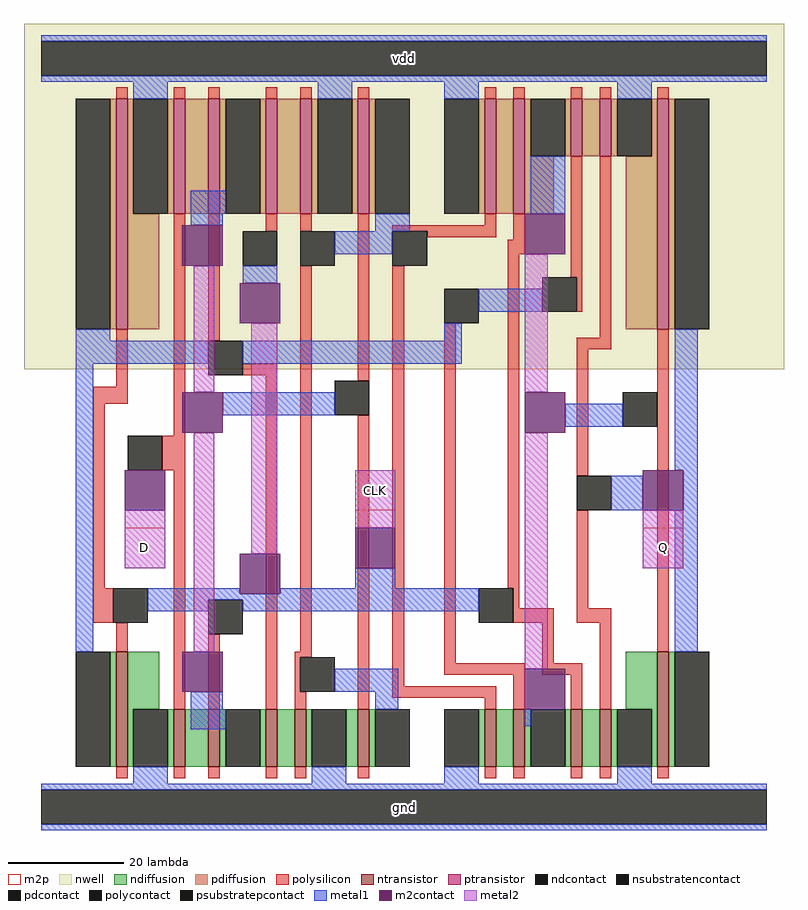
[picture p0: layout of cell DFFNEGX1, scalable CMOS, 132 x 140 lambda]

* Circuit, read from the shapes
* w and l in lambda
.subckt DFFNEGX1 D CLK Q vdd gnd
M1 gnd CLK n1 gnd nfet w=20 l=2
M2 n2 D gnd gnd nfet w=10 l=2
M3 n3 CLK n2 gnd nfet w=10 l=2
M4 n4 n1 n3 gnd nfet w=10 l=2
M5 gnd n5 n4 gnd nfet w=10 l=2
M6 n5 n3 gnd gnd nfet w=10 l=2
M7 n6 n5 gnd gnd nfet w=10 l=2
M8 n7 n1 n6 gnd nfet w=10 l=2
M9 n8 CLK n7 gnd nfet w=10 l=2
M10 gnd Q n8 gnd nfet w=10 l=2
M11 Q n7 gnd gnd nfet w=20 l=2
M12 vdd CLK n1 vdd pfet w=40 l=2
M13 n9 D vdd vdd pfet w=20 l=2
M14 n3 n1 n9 vdd pfet w=20 l=2
M15 n10 CLK n3 vdd pfet w=20 l=2
M16 vdd n5 n10 vdd pfet w=20 l=2
M17 n5 n3 vdd vdd pfet w=20 l=2
M18 n11 n5 vdd vdd pfet w=20 l=2
M19 n7 CLK n11 vdd pfet w=20 l=2
M20 n12 n1 n7 vdd pfet w=10 l=2
M21 vdd Q n12 vdd pfet w=10 l=2
M22 Q n7 vdd vdd pfet w=40 l=2
.ends

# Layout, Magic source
magic
tech scmos
magscale 1 2
<< nwell >>
rect -12 152 252 272
<< ntransistor >>
rect 20 14 24 54
rect 40 14 44 34
rect 52 14 56 34
rect 72 14 76 34
rect 82 14 86 34
rect 104 14 108 34
rect 148 14 152 34
rect 158 14 162 34
rect 178 14 182 34
rect 188 14 192 34
rect 208 14 212 54
<< ptransistor >>
rect 20 166 24 246
rect 40 206 44 246
rect 52 206 56 246
rect 72 206 76 246
rect 84 206 88 246
rect 104 206 108 246
rect 148 206 152 246
rect 158 206 162 246
rect 178 226 182 246
rect 188 226 192 246
rect 208 166 212 246
<< ndiffusion >>
rect 18 14 20 54
rect 24 34 35 54
rect 197 34 208 54
rect 24 14 26 34
rect 38 14 40 34
rect 44 14 52 34
rect 56 14 58 34
rect 70 14 72 34
rect 76 14 82 34
rect 86 14 88 34
rect 100 14 104 34
rect 108 14 110 34
rect 146 14 148 34
rect 152 14 158 34
rect 162 14 164 34
rect 176 14 178 34
rect 182 14 188 34
rect 192 14 194 34
rect 206 14 208 34
rect 212 14 214 54
<< pdiffusion >>
rect 18 166 20 246
rect 24 206 26 246
rect 38 206 40 246
rect 44 206 52 246
rect 56 206 58 246
rect 70 206 72 246
rect 76 206 84 246
rect 88 206 90 246
rect 102 206 104 246
rect 108 206 110 246
rect 146 206 148 246
rect 152 206 158 246
rect 162 226 164 246
rect 176 226 178 246
rect 182 226 188 246
rect 192 226 194 246
rect 206 226 208 246
rect 162 206 172 226
rect 24 166 35 206
rect 197 166 208 226
rect 212 166 214 246
<< ndcontact >>
rect 6 14 18 54
rect 26 14 38 34
rect 58 14 70 34
rect 88 14 100 34
rect 110 14 122 34
rect 134 14 146 34
rect 164 14 176 34
rect 194 14 206 34
rect 214 14 226 54
<< pdcontact >>
rect 6 166 18 246
rect 26 206 38 246
rect 58 206 70 246
rect 90 206 102 246
rect 110 206 122 246
rect 134 206 146 246
rect 164 226 176 246
rect 194 226 206 246
rect 214 166 226 246
<< psubstratepcontact >>
rect -6 -6 246 6
<< nsubstratencontact >>
rect -6 254 246 266
<< polysilicon >>
rect 20 246 24 250
rect 40 246 44 250
rect 52 246 56 250
rect 72 246 76 250
rect 84 246 88 250
rect 104 246 108 250
rect 148 246 152 250
rect 158 246 162 250
rect 178 246 182 250
rect 188 246 192 250
rect 208 246 212 250
rect 20 146 24 166
rect 12 140 24 146
rect 12 76 16 140
rect 40 129 44 206
rect 52 162 56 206
rect 72 200 76 206
rect 84 200 88 206
rect 64 150 76 154
rect 36 117 44 129
rect 12 64 19 76
rect 20 54 24 64
rect 40 34 44 117
rect 52 34 56 60
rect 72 34 76 150
rect 84 54 88 188
rect 104 148 108 206
rect 148 202 152 206
rect 82 52 88 54
rect 82 40 84 52
rect 82 34 86 40
rect 104 34 108 136
rect 116 200 152 202
rect 128 198 152 200
rect 158 197 162 206
rect 156 192 162 197
rect 116 42 120 188
rect 134 50 138 168
rect 156 76 160 192
rect 178 184 182 226
rect 180 172 182 184
rect 188 163 192 226
rect 158 69 160 76
rect 180 159 192 163
rect 180 115 184 159
rect 180 69 184 103
rect 158 64 172 69
rect 180 64 192 69
rect 168 50 172 64
rect 134 46 162 50
rect 168 46 182 50
rect 116 38 152 42
rect 148 34 152 38
rect 158 34 162 46
rect 178 34 182 46
rect 188 34 192 64
rect 208 54 212 166
rect 20 10 24 14
rect 40 10 44 14
rect 52 10 56 14
rect 72 10 76 14
rect 82 10 86 14
rect 104 10 108 14
rect 148 10 152 14
rect 158 10 162 14
rect 178 10 182 14
rect 188 10 192 14
rect 208 10 212 14
<< polycontact >>
rect 64 188 76 200
rect 84 188 96 200
rect 52 150 64 162
rect 24 117 36 129
rect 19 64 31 76
rect 52 60 64 72
rect 96 136 108 148
rect 84 40 96 52
rect 116 188 128 200
rect 134 168 146 180
rect 168 172 180 184
rect 146 64 158 76
rect 196 132 208 144
rect 180 103 192 115
<< metal1 >>
rect -6 266 246 268
rect -6 252 246 254
rect 26 246 38 252
rect 90 246 102 252
rect 134 246 146 252
rect 194 246 206 252
rect 46 206 58 214
rect 164 206 176 226
rect 46 202 57 206
rect 110 200 122 206
rect 96 192 116 200
rect 64 182 76 188
rect 146 172 168 180
rect 6 162 18 166
rect 134 162 140 168
rect 6 154 52 162
rect 6 54 12 154
rect 64 154 140 162
rect 57 136 96 144
rect 176 132 196 140
rect 214 117 222 166
rect 192 103 203 115
rect 217 103 222 117
rect 31 74 63 76
rect 103 76 117 83
rect 77 74 146 76
rect 31 72 146 74
rect 31 68 52 72
rect 64 68 146 72
rect 214 54 222 103
rect 96 40 118 48
rect 46 34 57 40
rect 110 34 118 40
rect 46 27 58 34
rect 162 28 164 34
rect 26 8 38 14
rect 88 8 100 14
rect 134 8 146 14
rect 194 8 206 14
rect -6 6 246 8
rect -6 -8 246 -6
<< m2contact >>
rect 43 188 57 202
rect 162 192 176 206
rect 63 168 77 182
rect 43 130 57 144
rect 162 130 176 144
rect 23 103 37 117
rect 203 103 217 117
rect 63 74 77 88
rect 103 83 117 97
rect 43 40 57 54
rect 162 34 176 48
<< metal2 >>
rect 47 144 54 188
rect 23 83 37 103
rect 47 54 54 130
rect 67 88 76 168
rect 162 144 170 192
rect 103 97 117 117
rect 162 48 170 130
rect 203 83 217 103
<< m2p >>
rect 103 103 117 117
rect 23 83 37 97
rect 203 83 217 97
<< labels >>
rlabel metal2 23 83 37 97 0 D
port 0 nsew signal input
rlabel metal2 103 103 117 117 0 CLK
port 1 nsew clock input
rlabel metal2 203 83 217 97 0 Q
port 2 nsew signal output
rlabel metal1 -6 252 246 268 0 vdd
port 3 nsew power bidirectional abutment
rlabel metal1 -6 -8 246 8 0 gnd
port 4 nsew ground bidirectional abutment
<< properties >>
string FIXED_BBOX 0 0 240 260
string LEFclass CORE
string LEFsite core
string LEFsymmetry X Y
<< end >>
